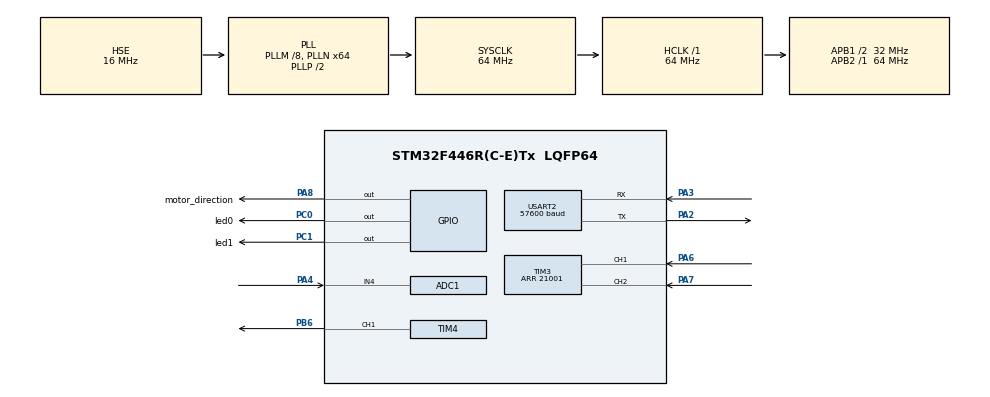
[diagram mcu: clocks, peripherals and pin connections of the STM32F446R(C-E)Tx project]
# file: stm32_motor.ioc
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ADC1.Channel-0\#ChannelRegularConversion=ADC_CHANNEL_4
ADC1.ContinuousConvMode=ENABLE
ADC1.NbrOfConversionFlag=1
ADC1.Rank-0\#ChannelRegularConversion=1
ADC1.Resolution=ADC_RESOLUTION_10B
ADC1.SamplingTime-0\#ChannelRegularConversion=ADC_SAMPLETIME_3CYCLES
ADC1.ScanConvMode=ENABLE
ADC1.master=1
Dma.Request0=USART2_RX
Dma.Request1=USART2_TX
Dma.USART2_RX.0.Direction=DMA_PERIPH_TO_MEMORY
Dma.USART2_RX.0.FIFOMode=DMA_FIFOMODE_DISABLE
Dma.USART2_RX.0.Instance=DMA1_Stream5
Dma.USART2_RX.0.MemDataAlignment=DMA_MDATAALIGN_BYTE
Dma.USART2_RX.0.MemInc=DMA_MINC_ENABLE
Dma.USART2_RX.0.Mode=DMA_CIRCULAR
Dma.USART2_RX.0.PeriphDataAlignment=DMA_PDATAALIGN_BYTE
Dma.USART2_RX.0.PeriphInc=DMA_PINC_DISABLE
Dma.USART2_RX.0.Priority=DMA_PRIORITY_HIGH
Dma.USART2_TX.1.Direction=DMA_MEMORY_TO_PERIPH
Dma.USART2_TX.1.FIFOMode=DMA_FIFOMODE_DISABLE
Dma.USART2_TX.1.Instance=DMA1_Stream6
Dma.USART2_TX.1.MemDataAlignment=DMA_MDATAALIGN_BYTE
Dma.USART2_TX.1.MemInc=DMA_MINC_ENABLE
Dma.USART2_TX.1.Mode=DMA_NORMAL
Dma.USART2_TX.1.PeriphDataAlignment=DMA_PDATAALIGN_BYTE
Dma.USART2_TX.1.PeriphInc=DMA_PINC_DISABLE
Dma.USART2_TX.1.Priority=DMA_PRIORITY_HIGH
Mcu.Family=STM32F4
Mcu.Name=STM32F446R(C-E)Tx
Mcu.Package=LQFP64
NVIC.DMA1_Stream5_IRQn=true\:0\:0\:false\:false\:true\:false\:true
NVIC.DMA1_Stream6_IRQn=true\:0\:0\:false\:false\:true\:false\:true
NVIC.PriorityGroup=NVIC_PRIORITYGROUP_4
NVIC.TIM2_IRQn=true\:0\:0\:false\:false\:true\:true\:true
NVIC.USART2_IRQn=true\:0\:0\:false\:false\:true\:true\:true
PA13.Mode=Serial_Wire
PA13.Signal=SYS_JTMS-SWDIO
PA14.Mode=Serial_Wire
PA14.Signal=SYS_JTCK-SWCLK
PA2.Mode=Asynchronous
PA2.Signal=USART2_TX
PA3.Mode=Asynchronous
PA3.Signal=USART2_RX
PA4.Signal=ADCx_IN4
PA6.Signal=S_TIM3_CH1
PA7.Signal=S_TIM3_CH2
PA8.GPIO_Label=motor_direction
PA8.Signal=GPIO_Output
PB6.Signal=S_TIM4_CH1
PC0.GPIO_Label=led0
PC0.Signal=GPIO_Output
PC1.GPIO_Label=led1
PC1.Signal=GPIO_Output
PH0-OSC_IN.Mode=HSE-External-Oscillator
PH0-OSC_IN.Signal=RCC_OSC_IN
PH1-OSC_OUT.Mode=HSE-External-Oscillator
PH1-OSC_OUT.Signal=RCC_OSC_OUT
ProjectManager.HeapSize=0x200
ProjectManager.StackSize=0x400
ProjectManager.TargetToolchain=STM32CubeIDE
RCC.AHBFreq_Value=64000000
RCC.APB1CLKDivider=RCC_HCLK_DIV2
RCC.APB1Freq_Value=32000000
RCC.APB1TimFreq_Value=64000000
RCC.APB2Freq_Value=64000000
RCC.APB2TimFreq_Value=64000000
RCC.CortexFreq_Value=64000000
RCC.HCLKFreq_Value=64000000
RCC.HSE_VALUE=16000000
RCC.PLLM=8
RCC.PLLN=64
RCC.PLLSourceVirtual=RCC_PLLSOURCE_HSE
RCC.SYSCLKFreq_VALUE=64000000
RCC.SYSCLKSource=RCC_SYSCLKSOURCE_PLLCLK
RCC.USBFreq_Value=64000000
RCC.VCOOutputFreq_Value=128000000
SH.ADCx_IN4.0=ADC1_IN4,IN4
SH.S_TIM3_CH1.0=TIM3_CH1,Encoder_Interface
SH.S_TIM3_CH2.0=TIM3_CH2,Encoder_Interface
SH.S_TIM4_CH1.0=TIM4_CH1,PWM Generation1 CH1
TIM2.Period=500
TIM2.Prescaler=64-1
TIM3.Period=21001
TIM4.AutoReloadPreload=TIM_AUTORELOAD_PRELOAD_ENABLE
TIM4.Channel-PWM\ Generation1\ CH1=TIM_CHANNEL_1
TIM4.CounterMode=TIM_COUNTERMODE_UP
TIM4.Period=1000-1
TIM4.Prescaler=640-1
TIM4.Pulse-PWM\ Generation1\ CH1=0
TIM4.TIM_MasterOutputTrigger=TIM_TRGO_RESET
USART2.BaudRate=57600
USART2.VirtualMode=VM_ASYNC
USART2.WordLength=WORDLENGTH_8B
VP_TIM2_VS_ClockSourceINT.Mode=Internal
VP_TIM4_VS_ClockSourceINT.Mode=Internal
board=custom

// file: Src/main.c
/* USER CODE BEGIN Header */
/**
  ******************************************************************************
  * @file           : main.c
  * @brief          : Main program body
  ******************************************************************************
  * @attention
  *
  * <h2><center>&copy; Copyright (c) 2020 STMicroelectronics.
  * All rights reserved.</center></h2>
  *
  * This software component is licensed by ST under BSD 3-Clause license,
  * the "License"; You may not use this file except in compliance with the
  * License. You may obtain a copy of the License at:
  *                        opensource.org/licenses/BSD-3-Clause
  *
  ******************************************************************************
  */
/* USER CODE END Header */

//#include "mainpp.h"
#include "main.h"
#include "mainpp.h"
#include "adc.h"
#include "dma.h"
#include "tim.h"
#include "usart.h"
#include "gpio.h"

/* USER CODE BEGIN PV */
extern int32_t encoder;

extern float T_deg, T_vel, T_cur;

extern float cur_cur, past_cur, error_cur, error_cur_sum, lpf_cur ,value;
extern float cur_vel, past_vel, error_vel, error_vel_sum;
extern float cur_deg, past_deg, error_deg, past_error_deg;

extern float position, velocity, current;

int pos_Hz=0, vel_Hz=0, cur_Hz=0;

extern float target_deg;
/* USER CODE END PV */

void SystemClock_Config(void);

int main(void)
{

  /* MCU Configuration--------------------------------------------------------*/

  /* Reset of all peripherals, Initializes the Flash interface and the Systick. */
  HAL_Init();

  /* Configure the system clock */
  SystemClock_Config();

  /* Initialize all configured peripherals */
  MX_GPIO_Init();
  MX_DMA_Init();
  MX_USART2_UART_Init();
  MX_TIM4_Init();
  MX_TIM3_Init();
  MX_TIM2_Init();
  MX_ADC1_Init();
  /* USER CODE BEGIN 2 */
  HAL_TIM_Base_Start_IT(&htim2);
  HAL_TIM_PWM_Start(&htim4, TIM_CHANNEL_1); //Timer 4 start
  HAL_TIM_Encoder_Start(&htim3, TIM_CHANNEL_1);
  setup();
  /* USER CODE END 2 */

  /* Infinite loop */
  while (1)
  {

  }
}

void SystemClock_Config(void)
{
  RCC_OscInitTypeDef RCC_OscInitStruct = {0};
  RCC_ClkInitTypeDef RCC_ClkInitStruct = {0};

  /** Configure the main internal regulator output voltage
  */
  __HAL_RCC_PWR_CLK_ENABLE();
  __HAL_PWR_VOLTAGESCALING_CONFIG(PWR_REGULATOR_VOLTAGE_SCALE3);
  /** Initializes the CPU, AHB and APB busses clocks
  */
  RCC_OscInitStruct.OscillatorType = RCC_OSCILLATORTYPE_HSE;
  RCC_OscInitStruct.HSEState = RCC_HSE_ON;
  RCC_OscInitStruct.PLL.PLLState = RCC_PLL_ON;
  RCC_OscInitStruct.PLL.PLLSource = RCC_PLLSOURCE_HSE;
  RCC_OscInitStruct.PLL.PLLM = 8;
  RCC_OscInitStruct.PLL.PLLN = 64;
  RCC_OscInitStruct.PLL.PLLP = RCC_PLLP_DIV2;
  RCC_OscInitStruct.PLL.PLLQ = 2;
  RCC_OscInitStruct.PLL.PLLR = 2;
  if (HAL_RCC_OscConfig(&RCC_OscInitStruct) != HAL_OK)
  {
    Error_Handler();
  }
  /** Initializes the CPU, AHB and APB busses clocks
  */
  RCC_ClkInitStruct.ClockType = RCC_CLOCKTYPE_HCLK|RCC_CLOCKTYPE_SYSCLK
                              |RCC_CLOCKTYPE_PCLK1|RCC_CLOCKTYPE_PCLK2;
  RCC_ClkInitStruct.SYSCLKSource = RCC_SYSCLKSOURCE_PLLCLK;
  RCC_ClkInitStruct.AHBCLKDivider = RCC_SYSCLK_DIV1;
  RCC_ClkInitStruct.APB1CLKDivider = RCC_HCLK_DIV2;
  RCC_ClkInitStruct.APB2CLKDivider = RCC_HCLK_DIV1;

  if (HAL_RCC_ClockConfig(&RCC_ClkInitStruct, FLASH_LATENCY_2) != HAL_OK)
  {
    Error_Handler();
  }
}

/* USER CODE BEGIN 4 */
///// TIMER INTERRUPT /////
void HAL_TIM_PeriodElapsedCallback(TIM_HandleTypeDef *htim)
{
	target_deg = 180 * DEG2RAD;
	encoder = TIM3->CNT;
	cur_deg = encoder * 2.0 * PI / (GEAR_RATIO*CPT*2.0);
	cur_vel = (cur_deg - past_deg) * 20;
	current_sensor();

	error_deg = target_deg - cur_deg;
	if(error_deg>=0)
		HAL_GPIO_WritePin(GPIOA, GPIO_PIN_8, GPIO_PIN_SET); // RESET: CCW, SET: CW

	else if(error_deg<0)
		HAL_GPIO_WritePin(GPIOA, GPIO_PIN_8, GPIO_PIN_RESET);

	if(pos_Hz == 1000)
	{
		postion_control(target_deg);
		pos_Hz=0;
	}

	if(vel_Hz == 100)
	{
		speed_control(position, 45.0*DEG2RAD);
		vel_Hz=0;
	}

	if(cur_Hz == 10)
	{
		current_control(velocity,1.0);
		cur_Hz=0;
	}

	htim4.Instance->CCR1 = current;
	past_deg = cur_deg;
	past_error_deg = error_deg;

	cur_Hz++;
	vel_Hz++;
	pos_Hz++;

}
/* USER CODE END 4 */

void Error_Handler(void)
{
}

/************************ (C) COPYRIGHT STMicroelectronics *****END OF FILE****/
